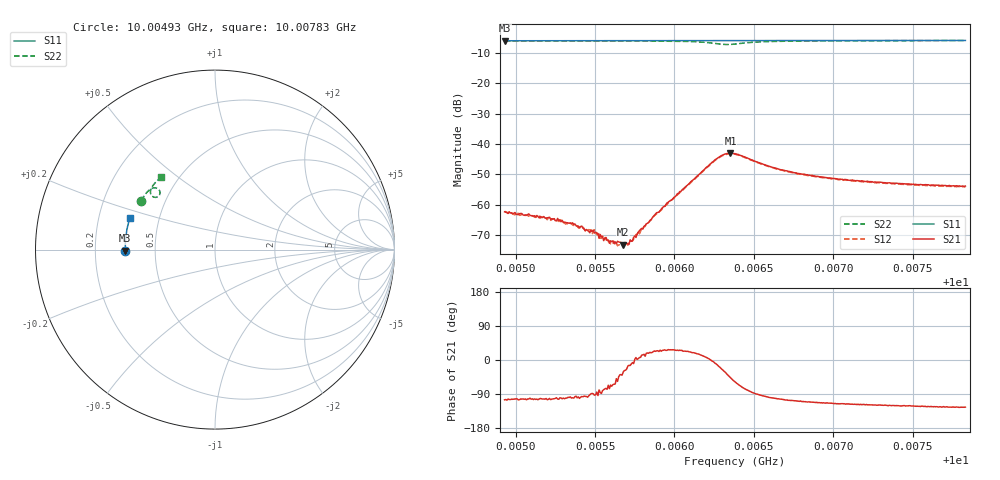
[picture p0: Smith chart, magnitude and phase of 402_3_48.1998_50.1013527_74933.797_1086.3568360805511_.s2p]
#  HZ  S  RI  R  50.00
! Rohde & Schwarz Vector Network Analyzer
! Rohde-Schwarz,ZNB20-2Port,1311601062101988,3.16
! Created: UTC 3/20/2024, 11:54:05 AM
! freq[Hz]  re:S11  im:S11  re:S21  im:S21  re:S12  im:S12  re:S22  im:S22
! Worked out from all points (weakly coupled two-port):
!   401 points, 10.00493 GHz to 10.00783 GHz, reference 50 ohm
!   highest |S21| = -43.04 dB at 10.00635 GHz (marker M1); lowest = -73.2 dB at 10.00568 GHz (marker M2)
!   lowest |S11| = -6.0 dB at 10.00493 GHz (marker M3), VSWR 3.00, Z = 16.7 - j0.305 ohm
!   |S11| at or under -10 dB: nowhere
!   |S22| runs from -7.3 to -6.0 dB; largest |S21 - S12| = 0.00043
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1.000493e10  -0.4993 -0.00685  -0.000198 -0.000738  -0.000152 -0.000769  -0.4117 0.2733
1.000498e10  -0.4995 -0.00353  -0.00017 -0.000696  -0.000152 -0.000686  -0.4101 0.2764
1.0005278e10  -0.4999 0.0158  -9.55e-05 -0.000559  -7.33e-05 -0.000529  -0.3988 0.2939
1.0005416e10  -0.4999 0.0248  -4.85e-05 -0.000441  -3.45e-05 -0.000444  -0.3929 0.3022
1.0005452e10  -0.4997 0.0271  -5.4e-05 -0.000372  -1.08e-05 -0.000385  -0.3913 0.3043
1.0005503e10  -0.4996 0.0304  -1.36e-05 -0.000353  2.54e-05 -0.000352  -0.3889 0.3074
1.000551e10  -0.4996 0.0309  3.16e-05 -0.000342  1.95e-05 -0.000323  -0.3888 0.3079
1.0005525e10  -0.4997 0.0319  5.32e-05 -0.000275  2.6e-05 -0.00033  -0.3879 0.3088
1.000559e10  -0.4995 0.0361  5.87e-05 -0.000225  8.99e-05 -0.000239  -0.3848 0.3127
1.0005655e10  -0.4993 0.0403  0.000187 -0.000152  0.000158 -0.00015  -0.3814 0.3169
1.0005677e10  -0.4991 0.0416  0.000187 -0.000115  0.000211 -0.000104  -0.3802 0.3181
1.0005721e10  -0.499 0.0445  0.000256 -6.62e-05  0.000257 -1.34e-05  -0.3777 0.3209
1.0005808e10  -0.4986 0.05  0.000426 0.000114  0.000417 0.000114  -0.3723 0.3264
1.0005902e10  -0.4982 0.0562  0.000697 0.000288  0.000664 0.000368  -0.3654 0.3326
1.0006251e10  -0.4953 0.0786  0.0053 -0.000604  0.00518 -0.000326  -0.3101 0.3306
1.0006301e10  -0.4948 0.0817  0.00592 -0.00274  0.00592 -0.00244  -0.3068 0.3112
1.0006352e10  -0.4942 0.0848  0.00484 -0.00512  0.00498 -0.00474  -0.3199 0.294
1.0006381e10  -0.4944 0.0865  0.00367 -0.00586  0.0039 -0.00556  -0.3311 0.2909
1.0006657e10  -0.4919 0.1042  -0.000834 -0.00377  -0.000671 -0.00373  -0.3577 0.3337
1.0006868e10  -0.4894 0.1175  -0.0011 -0.00283  -0.000925 -0.0028  -0.3483 0.3531
1.0007354e10  -0.4822 0.148  -0.00113 -0.002  -0.00108 -0.00198  -0.3241 0.382
1.0007833e10  -0.4731 0.1775  -0.00115 -0.00168  -0.00102 -0.00166  -0.2995 0.4042
